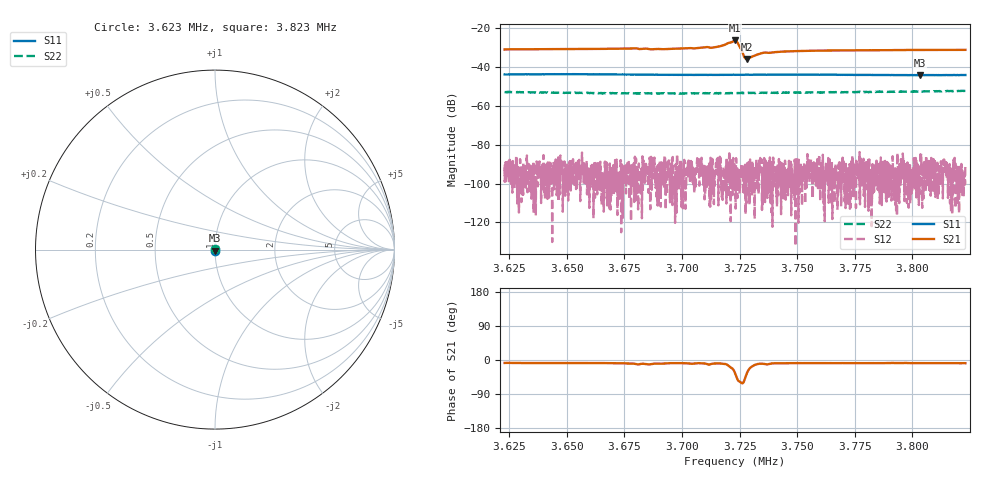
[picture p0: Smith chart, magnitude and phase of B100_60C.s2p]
# Hz S dB R 50.000
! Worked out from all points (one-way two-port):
!   6401 points, 3.623 MHz to 3.823 MHz, reference 50 ohm
!   highest |S21| = -26.28 dB at 3.723 MHz (marker M1); lowest = -35.8 dB at 3.728 MHz (marker M2)
!   lowest |S11| = -44.2 dB at 3.803 MHz (marker M3), VSWR 1.01, Z = 50 - j0.616 ohm
!   |S11| at or under -10 dB: start of sweep to end of sweep
!   |S22| runs from -53.8 to -52.1 dB; largest |S21 - S12| = 0.049
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3622969  -43.79 -92.2  -30.94 -7.8  -91.63 54.2  -52.90 110.4
3656313  -43.66 -91.8  -30.73 -8.2  -95.30 52.7  -53.25 110.3
3679500  -43.84 -92.6  -30.32 -10.0  -86.70 -29.1  -53.58 107.8
3681844  -43.84 -92.6  -30.69 -10.5  -97.50 128.6  -53.42 107.6
3689656  -43.92 -92.8  -30.67 -9.7  -102.67 -20.9  -53.64 106.8
3705594  -44.00 -93.4  -30.34 -8.8  -95.17 51.6  -53.51 106.7
3710438  -43.98 -93.2  -29.71 -9.9  -96.62 86.3  -53.45 106.6
3713156  -44.00 -93.5  -29.97 -9.8  -87.85 -148.1  -53.46 107.0
3717282  -43.98 -93.3  -29.02 -9.4  -106.67 7.5  -53.48 107.3
3722969  -43.94 -93.5  -26.28 -34.2  -93.38 79.0  -53.38 107.9
3723656  -43.94 -93.6  -26.73 -45.8  -96.28 81.3  -53.36 107.5
3724438  -43.96 -93.5  -28.35 -55.0  -100.22 99.0  -53.40 108.3
3727219  -43.92 -93.4  -35.25 -50.1  -93.40 -35.0  -53.24 108.4
3727719  -43.95 -93.2  -35.73 -41.3  -95.70 3.9  -53.22 108.1
3728282  -43.94 -93.3  -35.80 -32.7  -88.98 143.6  -53.25 108.6
3733156  -43.92 -93.4  -33.34 -10.3  -95.71 -1.2  -53.20 108.5
3735656  -43.89 -93.3  -32.54 -10.3  -87.80 60.6  -53.17 109.5
3744406  -43.85 -93.3  -31.98 -8.6  -94.47 162.5  -53.10 110.2
3756313  -43.88 -93.2  -31.57 -8.3  -94.54 49.4  -52.96 110.2
3789656  -44.08 -92.9  -31.29 -8.2  -96.33 45.4  -52.72 110.8
3803125  -44.19 -92.7  -31.17 -8.3  -98.15 -176.5  -52.39 110.5
3822969  -44.08 -91.7  -31.12 -8.5  -89.70 -108.8  -52.24 110.7
